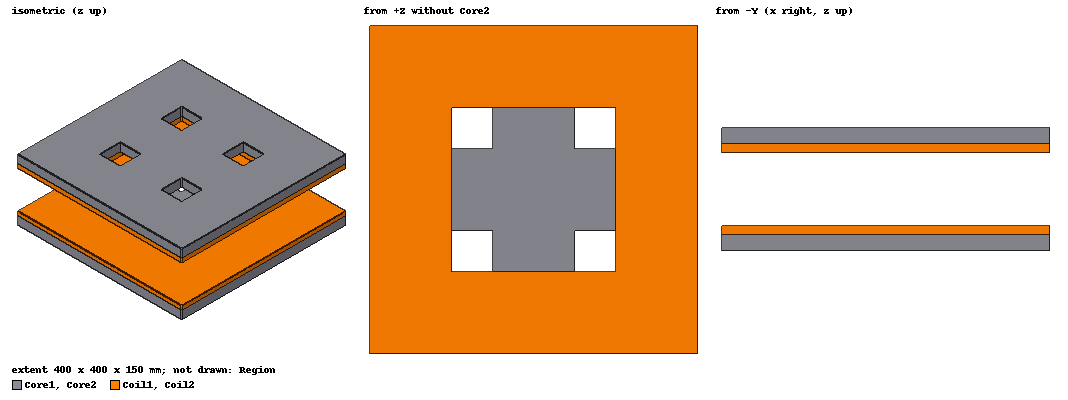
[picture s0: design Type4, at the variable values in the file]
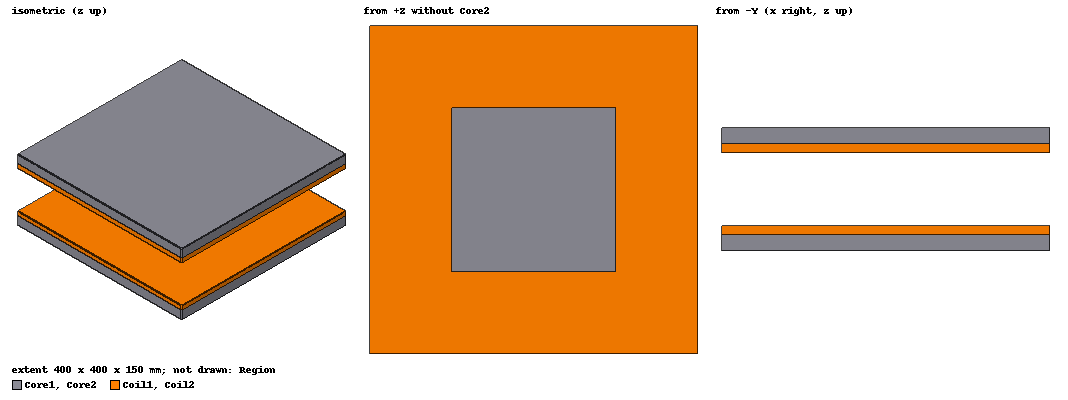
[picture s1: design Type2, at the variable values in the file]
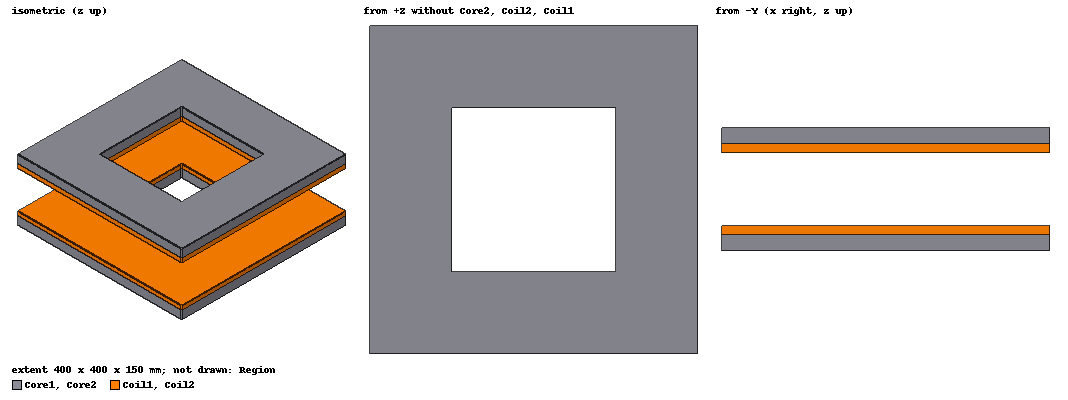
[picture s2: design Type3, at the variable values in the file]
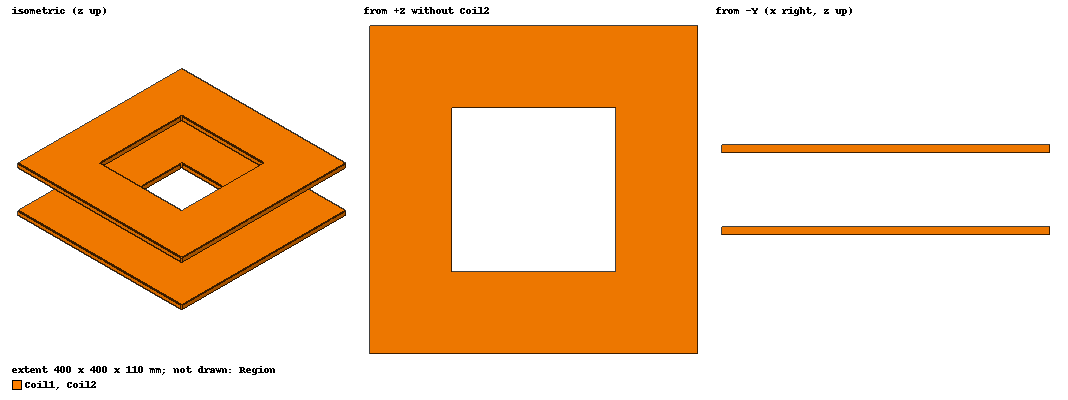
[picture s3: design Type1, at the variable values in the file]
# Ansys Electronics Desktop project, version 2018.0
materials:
  copper: permeability=0.999991 conductivity=58000000
  ferrite: permittivity=12 permeability=1000 conductivity=0.01
  vacuum: permittivity=1

design Type4 (Maxwell 3D, Magnetostatic, model units mm)
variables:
  Wf = 40cm
  Hf = 2cm
  Hc = 1cm
  wc = 10cm
  TransferDistance = 15cm
  H_mis_align = 0cm
  V_mis_align = 0cm
  wh = (wf-3*wc)/2
  N1 = 14
  N2 = 8
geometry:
  Coil1 [copper] = box(corner=(-Wf/2, -Wf/2, Hf), size=(Wf, Wf, Hc))
  Box3 = box(corner=(-wf/2+wc, -wf/2+wc, hf), size=(wf-2*wc, wf-2*wc, hc))
  Coil1.subtract(Box3)
  Terminal1 [copper] = Coil1.section(plane=YZ)
  Terminal1.separate_bodies()
  Coil2 [copper] = Coil1.duplicate_mirror(point=(0mm, 0mm, 0mm), normal=(0mm, 0mm, 1mm))
  Terminal2 [copper] = Terminal1.duplicate_mirror(point=(0mm, 0mm, 0mm), normal=(0mm, 0mm, 1mm))
  [Coil2, Terminal2].move(0mm, 0mm, TransferDistance)
  Region [vacuum] = region(percentage_offset=150 on all sides)
  [Coil2, Terminal2].move(0mm, H_mis_align, V_mis_align)
  Core1 [ferrite] = box(corner=(-Wf/2, -Wf/2, 0mm), size=(Wf, Wf, Hf))
  Box4 = box(corner=(-wf/2+wc, -wf/2+wc, 0mm), size=(wh, wh, hf))
  Box4_1 = Box4.duplicate_mirror(point=(0mm, 0mm, 0mm), normal=(1mm, 0mm, 0mm))
  Box4_2 = Box4.duplicate_mirror(point=(0mm, 0mm, 0mm), normal=(0mm, 1mm, 0mm))
  Box4_1_1 = Box4_1.duplicate_mirror(point=(0mm, 0mm, 0mm), normal=(0mm, 1mm, 0mm))
  Core1.subtract(Box4, Box4_1, Box4_1_1, Box4_2)
  Core2 [ferrite] = Core1.duplicate_mirror(point=(0mm, 0mm, 0mm), normal=(0mm, 0mm, 1mm))
  Core2.move(0mm, 0mm, TransferDistance)
  Core2.move(0mm, H_mis_align, V_mis_align)
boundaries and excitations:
  Coil1: Current Objects=Terminal1 Current="(11*14) A" IsSolid=false Point_out_of_terminal=false
  Coil2: Current Objects=Terminal2 Current="(11*8) A" IsSolid=false Point_out_of_terminal=false
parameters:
  Matrix1: Matrix Coil1: NumberOfTurns=N1; Coil2: NumberOfTurns=N2
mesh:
  Length1: LengthBased RefineInside Objects=[Coil1, Coil2, Terminal1, Terminal2] MaxLength=2cm
  initial mesh: GlobalCurvilinear{Apply}
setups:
  Setup1: Magnetostatic MaximumPasses=10 MinimumPasses=2 MinimumConvergedPasses=1 PercentRefinement=30 PercentError=1 NonLinearResidual=0.01
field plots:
  Mag_B1: B over a plane on Setup1 : LastAdaptive
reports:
  L Table 1: Matrix1.L(Coil1,Coil2) vs Wf on Setup1 : LastAdaptive [H_mis_align=all V_mis_align=all]

design Type2 (Maxwell 3D, Magnetostatic, model units mm)
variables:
  Wf = 40cm
  Hf = 2cm
  Hc = 1cm
  wc = 10cm
  TransferDistance = 15cm
  H_mis_align = 0cm
  V_mis_align = 0cm
  N1 = 14
  N2 = 8
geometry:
  Core1 [ferrite] = box(corner=(-Wf/2, -Wf/2, 0mm), size=(Wf, Wf, Hf))
  Coil1 [copper] = box(corner=(-Wf/2, -Wf/2, Hf), size=(Wf, Wf, Hc))
  Box3 = box(corner=(-wf/2+wc, -wf/2+wc, hf), size=(wf-2*wc, wf-2*wc, hc))
  Coil1.subtract(Box3)
  Terminal1 [copper] = Coil1.section(plane=YZ)
  Terminal1.separate_bodies()
  Core2 [ferrite] = Core1.duplicate_mirror(point=(0mm, 0mm, 0mm), normal=(0mm, 0mm, 1mm))
  Coil2 [copper] = Coil1.duplicate_mirror(point=(0mm, 0mm, 0mm), normal=(0mm, 0mm, 1mm))
  Terminal2 [copper] = Terminal1.duplicate_mirror(point=(0mm, 0mm, 0mm), normal=(0mm, 0mm, 1mm))
  [Coil2, Core2, Terminal2].move(0mm, 0mm, TransferDistance)
  Region [vacuum] = region(percentage_offset=150 on all sides)
  [Coil2, Core2, Terminal2].move(0mm, H_mis_align, V_mis_align)
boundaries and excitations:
  Coil1: Current Objects=Terminal1 Current=0A IsSolid=false Point_out_of_terminal=false
  Coil2: Current Objects=Terminal2 Current=0A IsSolid=false Point_out_of_terminal=false
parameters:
  Matrix1: Matrix Coil1: NumberOfTurns=N1; Coil2: NumberOfTurns=N2
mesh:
  Length1: LengthBased RefineInside Objects=[Coil1, Coil2, Core1, Core2, Terminal1, Terminal2] MaxLength=2cm
  initial mesh: GlobalCurvilinear{Apply}
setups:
  Setup1: Magnetostatic MaximumPasses=10 MinimumPasses=2 MinimumConvergedPasses=1 PercentRefinement=30 PercentError=1 NonLinearResidual=0.01
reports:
  L Table 1: Matrix1.L(Coil1,Coil2) vs Wf on Setup1 : LastAdaptive [H_mis_align=all V_mis_align=all]

design Type3 (Maxwell 3D, Magnetostatic, model units mm)
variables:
  Wf = 40cm
  Hf = 2cm
  Hc = 1cm
  wc = 10cm
  TransferDistance = 15cm
  H_mis_align = 0cm
  V_mis_align = 0cm
  N1 = 14
  N2 = 8
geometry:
  Core1 [ferrite] = box(corner=(-Wf/2, -Wf/2, 0mm), size=(Wf, Wf, Hf))
  Coil1 [copper] = box(corner=(-Wf/2, -Wf/2, Hf), size=(Wf, Wf, Hc))
  Box3 = box(corner=(-wf/2+wc, -wf/2+wc, hf), size=(wf-2*wc, wf-2*wc, hc))
  Coil1.subtract(Box3)
  Terminal1 [copper] = Coil1.section(plane=YZ)
  Terminal1.separate_bodies()
  Coil2 [copper] = Coil1.duplicate_mirror(point=(0mm, 0mm, 0mm), normal=(0mm, 0mm, 1mm))
  Terminal2 [copper] = Terminal1.duplicate_mirror(point=(0mm, 0mm, 0mm), normal=(0mm, 0mm, 1mm))
  [Coil2, Terminal2].move(0mm, 0mm, TransferDistance)
  Region [vacuum] = region(percentage_offset=150 on all sides)
  [Coil2, Terminal2].move(0mm, H_mis_align, V_mis_align)
  Box4 = box(corner=(-wf/2+wc, -wf/2+wc, 0mm), size=(wf-2*wc, wf-2*wc, hf))
  Core1.subtract(Box4)
  Core2 [ferrite] = Core1.duplicate_mirror(point=(0mm, 0mm, 0mm), normal=(0mm, 0mm, 1mm))
  Core2.move(0mm, 0mm, TransferDistance)
  Core2.move(0mm, H_mis_align, V_mis_align)
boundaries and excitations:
  Coil1: Current Objects=Terminal1 Current=0A IsSolid=false Point_out_of_terminal=false
  Coil2: Current Objects=Terminal2 Current=0A IsSolid=false Point_out_of_terminal=false
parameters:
  Matrix1: Matrix Coil1: NumberOfTurns=N1; Coil2: NumberOfTurns=N2
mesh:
  Length1: LengthBased RefineInside Objects=[Coil1, Coil2, Core1, Terminal1, Terminal2] MaxLength=2cm
  initial mesh: GlobalCurvilinear{Apply}
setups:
  Setup1: Magnetostatic MaximumPasses=10 MinimumPasses=2 MinimumConvergedPasses=1 PercentRefinement=30 PercentError=1 NonLinearResidual=0.001
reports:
  L Table 1: Matrix1.L(Coil1,Coil2) vs Wf on Setup1 : LastAdaptive

design Type1 (Maxwell 3D, Magnetostatic, model units mm)
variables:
  Wf = 40cm
  Hf = 2cm
  Hc = 1cm
  wc = 10cm
  TransferDistance = 15cm
  H_mis_align = 0cm
  V_mis_align = 0cm
  N1 = 14
  N2 = 8
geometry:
  Coil1 [copper] = box(corner=(-Wf/2, -Wf/2, Hf), size=(Wf, Wf, Hc))
  Box3 = box(corner=(-wf/2+wc, -wf/2+wc, hf), size=(wf-2*wc, wf-2*wc, hc))
  Coil1.subtract(Box3)
  Terminal1 [copper] = Coil1.section(plane=YZ)
  Terminal1.separate_bodies()
  Coil2 [copper] = Coil1.duplicate_mirror(point=(0mm, 0mm, 0mm), normal=(0mm, 0mm, 1mm))
  Terminal2 [copper] = Terminal1.duplicate_mirror(point=(0mm, 0mm, 0mm), normal=(0mm, 0mm, 1mm))
  [Coil2, Terminal2].move(0mm, 0mm, TransferDistance)
  Region [vacuum] = region(percentage_offset=150 on all sides)
  [Coil2, Terminal2].move(0mm, H_mis_align, V_mis_align)
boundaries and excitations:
  Coil1: Current Objects=Terminal1 Current=0A IsSolid=false Point_out_of_terminal=false
  Coil2: Current Objects=Terminal2 Current=0A IsSolid=false Point_out_of_terminal=false
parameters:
  Matrix1: Matrix Coil1: NumberOfTurns=N1; Coil2: NumberOfTurns=N2
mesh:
  Length1: LengthBased RefineInside Objects=[Coil1, Coil2, Terminal1, Terminal2] MaxLength=2cm
  initial mesh: GlobalCurvilinear{Apply}
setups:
  Setup1: Magnetostatic MaximumPasses=10 MinimumPasses=2 MinimumConvergedPasses=1 PercentRefinement=30 PercentError=1 NonLinearResidual=0.01
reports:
  L Table 1: Matrix1.L(Coil1,Coil2) vs Wf on Setup1 : LastAdaptive
